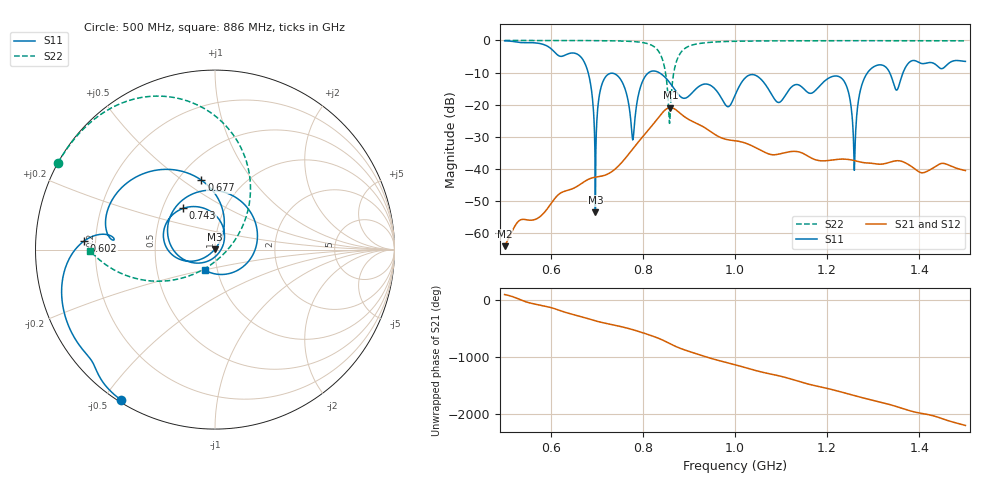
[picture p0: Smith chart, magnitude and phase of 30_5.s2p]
! TOUCHSTONE file generated by CST MICROWAVE STUDIO
! Date and time: Mon Nov 30 08:10:28 2020
! Project name: Scenario_1_Planar_Body_Tissue_Out_of_Line.cst
! Parameters = {dy1=155.7; L_HA=400; Ltissue=700; MT=2.54; Rad_Dielectric=30; Rad_Lower=7.3; Rad_Upper=30; Wtissue=700; a_HA=580; a_WG=246; b_HA=500; b_WG=121; c_HA=0; c_WG=187; d_feed=85; dx1=866; h_feed=15; h_lower=18; h_upper=40; hfat=3; hgap=25; hmuscle=50; hskin=1.5}
! Header version: 2018
! Port assignment regex: !\s*Touchstone port\s*([0-9]+)\s*=\s*(CST MWS port|CST DS port)\s*([0-9]+|Zmin|Zmax)\s*\(\"(.*)\"\)(\s*mode\s*([0-9]+))?.*
! Touchstone port assignment:
! Touchstone port 1 = CST MWS port 1 ("")
! Touchstone port 2 = CST MWS port 2 ("")
# GHz S DB R 50
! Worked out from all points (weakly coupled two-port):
!   1003 points, 500 MHz to 1.5 GHz, reference 50 ohm
!   highest |S21| = -20.92 dB at 860 MHz (marker M1); lowest = -64.1 dB at 500 MHz (marker M2)
!   lowest |S11| = -53.5 dB at 697 MHz (marker M3), VSWR 1.00, Z = 49.8 + j0.128 ohm
!   |S11| at or under -10 dB: 681.2 MHz to 812.9 MHz (131.6 MHz wide, 17.6 % of centre); 835 MHz to 1.288 GHz (452.9 MHz wide, 42.7 % of centre); 1.336 GHz to 1.365 GHz (29.28 MHz wide, 2.17 % of centre)
!   |S22| runs from -25.8 to 0.0 dB; largest |S21 - S12| = 1.7e-05
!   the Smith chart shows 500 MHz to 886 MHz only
!   S11 on the Smith chart (normalised r, x): 500 MHz: 0.01, -0.55; 602 MHz: 0.16, +0.03; 677 MHz: 0.65, +0.59; 743 MHz: 0.64, +0.32; 886 MHz: 0.87, -0.20
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0.5  -0.11 -122.1  -64.08 99.9  -64.08 100.0  -0.01 151.2
0.602  -2.73 176.2  -50.57 -133.1  -50.57 -133.1  -0.02 144.0
0.667  -5.40 123.8  -44.55 68.4  -44.55 68.4  -0.04 138.4
0.677  -8.08 101.1  -43.62 44.9  -43.62 44.9  -0.05 137.4
0.697  -53.54 142.5  -42.59 -3.0  -42.59 -3.0  -0.06 135.2
0.713  -12.96 -169.3  -42.18 -35.6  -42.18 -35.6  -0.08 133.3
0.743  -10.75 127.6  -39.66 -87.6  -39.66 -87.6  -0.14 128.8
0.778  -30.99 -31.2  -33.83 -158.6  -33.83 -158.6  -0.33 120.9
0.8  -12.53 178.8  -29.93 146.3  -29.93 146.3  -0.67 112.7
0.834  -9.93 74.8  -23.98 48.9  -23.98 48.9  -3.35 83.9
0.86  -13.45 -8.1  -20.92 -50.2  -20.92 -50.2  -20.97 -106.4
0.886  -17.91 -115.4  -23.29 -142.4  -23.29 -142.4  -3.15 -179.5
1  -17.11 113.4  -31.25 -55.7  -31.25 -55.7  -0.26 140.2
1.034  -10.67 -4.4  -32.64 -134.6  -32.64 -134.6  -0.19 136.1
1.093  -19.28 153.4  -35.46 112.8  -35.46 112.8  -0.13 130.3
1.129  -13.88 -8.4  -34.55 33.9  -34.55 33.8  -0.11 127.3
1.167  -16.38 175.9  -36.73 -53.4  -36.73 -53.4  -0.09 124.2
1.232  -11.87 -3.9  -36.96 179.5  -36.96 179.5  -0.08 119.2
1.259  -40.46 -148.5  -37.43 118.7  -37.43 118.7  -0.08 117.2
1.283  -11.12 59.7  -38.13 69.2  -38.13 69.2  -0.08 115.4
1.334  -9.57 -22.1  -38.04 -34.0  -38.04 -34.0  -0.08 111.5
1.5  -6.53 -45.6  -40.54 -46.3  -40.54 -46.3  -0.13 97.9
